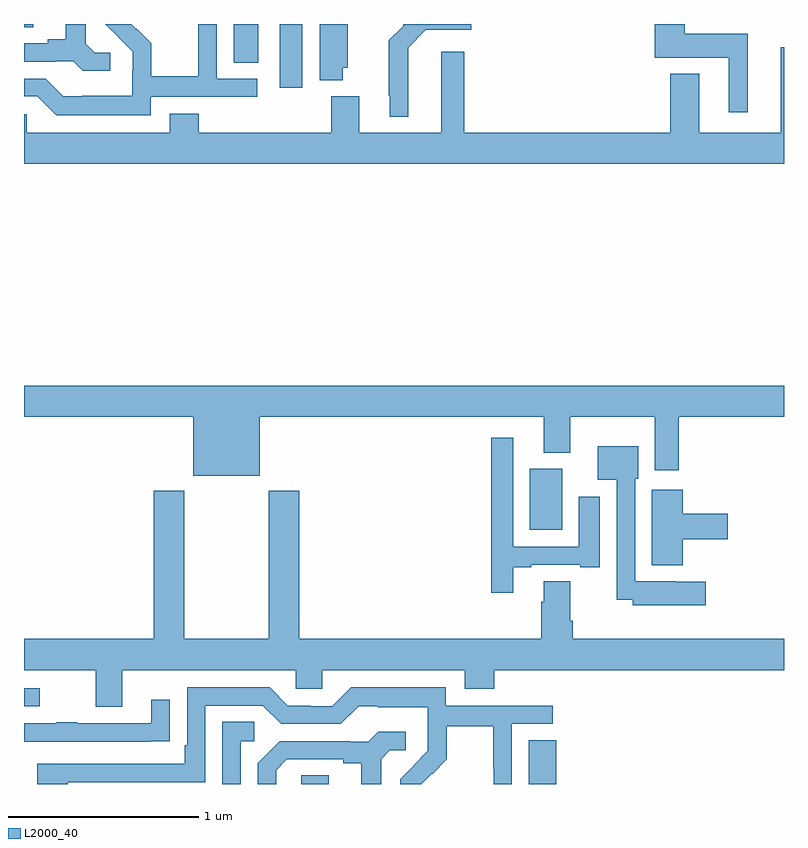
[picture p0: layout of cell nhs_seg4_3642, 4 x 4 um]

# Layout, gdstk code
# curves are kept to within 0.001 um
import gdstk
lib = gdstk.Library(unit=1e-6, precision=1e-09)
def R(c, l, rs):  # rectangles x0, y0, x1, y1
    for r in rs: c.add(gdstk.rectangle(r[:2], r[2:], *l))
def P(c, l, *ps):  # polygons
    for p in ps: c.add(gdstk.Polygon(p, *l))
L2000_40 = (2000, 40)

nhs_seg4_3642 = lib.new_cell('nhs_seg4_3642')
R(nhs_seg4_3642, L2000_40, [(304.458,782.9,304.603,782.945), (305.657,782.9,305.801,783.131), (303,783.309,303.082,783.405), (305.663,784.238,305.833,784.558), (304.346,786.564,304.465,786.9), (304.103,786.697,304.234,786.9), (303,786.883,303.049,786.9)])
P(nhs_seg4_3642, L2000_40, [(305.023,786.776),(305.115,786.869),(305.353,786.869),(305.353,786.9),(304.995,786.9),(304.995,786.888),(304.921,786.814),(304.921,786.523),(304.925,786.523),(304.925,786.413),(305.023,786.413)],
  [(303.454,786.75),(303.372,786.75),(303.325,786.797),(303.325,786.9),(303.221,786.9),(303.221,786.821),(303.125,786.821),(303.125,786.798),(303,786.798),(303,786.702),(303.164,786.702),(303.164,786.705),(303.258,786.705),(303.31,786.653),(303.454,786.653)],
  [(304.678,786.669),(304.705,786.669),(304.705,786.9),(304.556,786.9),(304.556,786.605),(304.678,786.605)],
  [(303.666,786.516),(304.228,786.516),(304.228,786.612),(304.014,786.612),(304.014,786.9),(303.918,786.9),(303.918,786.848),(303.916,786.848),(303.916,786.625),(303.671,786.625),(303.671,786.799),(303.594,786.876),(303.591,786.873),(303.564,786.9),(303.428,786.9),(303.572,786.754),(303.572,786.657),(303.57,786.657),(303.57,786.523),(303.307,786.523),(303.307,786.519),(303.207,786.519),(303.114,786.612),(303,786.612),(303,786.519),(303.069,786.519),(303.169,786.419),(303.666,786.419)],
  [(306.808,786.85),(306.478,786.85),(306.478,786.9),(306.32,786.9),(306.32,786.722),(306.71,786.722),(306.71,786.435),(306.808,786.435)],
  [(307,786.778),(306.983,786.778),(306.983,786.328),(306.553,786.328),(306.553,786.637),(306.401,786.637),(306.401,786.328),(305.318,786.328),(305.318,786.754),(305.195,786.754),(305.195,786.328),(304.765,786.328),(304.765,786.52),(304.618,786.52),(304.618,786.328),(303.92,786.328),(303.92,786.427),(303.767,786.427),(303.767,786.328),(303.015,786.328),(303.015,786.426),(303,786.426),(303,786.164),(307,786.164)],
  [(304.24,784.832),(305.735,784.832),(305.735,784.643),(305.875,784.643),(305.875,784.832),(306.32,784.832),(306.32,784.551),(306.446,784.551),(306.446,784.832),(307,784.832),(307,784.996),(303,784.996),(303,784.832),(303.89,784.832),(303.89,784.523),(304.24,784.523)],
  [(305.575,784.041),(305.671,784.041),(305.671,784.053),(305.927,784.053),(305.927,784.041),(306.031,784.041),(306.031,784.411),(305.921,784.411),(305.921,784.149),(305.574,784.149),(305.574,784.723),(305.458,784.723),(305.458,783.906),(305.575,783.906)],
  [(306.589,783.964),(306.432,783.964),(306.432,783.966),(306.216,783.966),(306.216,784.506),(306.232,784.506),(306.232,784.678),(306.02,784.678),(306.02,784.502),(306.12,784.502),(306.12,783.869),(306.204,783.869),(306.204,783.842),(306.589,783.842)],
  [(306.467,784.187),(306.703,784.187),(306.703,784.322),(306.467,784.322),(306.467,784.45),(306.305,784.45),(306.305,784.052),(306.467,784.052)],
  [(303.517,783.5),(304.431,783.5),(304.431,783.402),(304.569,783.402),(304.569,783.5),(305.321,783.5),(305.321,783.401),(305.474,783.401),(305.474,783.5),(307,783.5),(307,783.664),(305.888,783.664),(305.888,783.76),(305.875,783.76),(305.875,783.968),(305.735,783.968),(305.735,783.86),(305.723,783.86),(305.723,783.664),(304.448,783.664),(304.448,784.444),(304.288,784.444),(304.288,783.664),(303.843,783.664),(303.843,784.444),(303.683,784.444),(303.683,783.664),(303,783.664),(303,783.5),(303.377,783.5),(303.377,783.306),(303.517,783.306)],
  [(303.23,782.91),(303.954,782.91),(303.954,783.312),(304.257,783.312),(304.353,783.216),(304.668,783.216),(304.761,783.309),(304.861,783.309),(304.861,783.305),(305.124,783.305),(305.124,783.171),(305.126,783.171),(305.126,783.074),(304.98,782.926),(304.98,782.9),(305.09,782.9),(305.145,782.955),(305.148,782.952),(305.225,783.029),(305.225,783.204),(305.47,783.204),(305.47,782.98),(305.472,782.98),(305.472,782.9),(305.568,782.9),(305.568,783.216),(305.782,783.216),(305.782,783.312),(305.22,783.312),(305.22,783.409),(304.723,783.409),(304.623,783.309),(304.508,783.309),(304.508,783.312),(304.389,783.312),(304.293,783.408),(303.858,783.408),(303.858,783.103),(303.845,783.103),(303.845,783.006),(303.069,783.006),(303.069,782.9),(303.23,782.9)],
  [(303.665,783.124),(303.767,783.124),(303.767,783.343),(303.671,783.343),(303.671,783.219),(303.281,783.219),(303.281,783.224),(303.169,783.224),(303.169,783.219),(303,783.219),(303,783.123),(303.665,783.123)],
  [(304.14,783.126),(304.213,783.126),(304.213,783.227),(304.044,783.227),(304.044,782.9),(304.14,782.9)],
  [(304.327,782.973),(304.384,783.03),(304.679,783.03),(304.679,783.008),(304.775,783.008),(304.775,782.9),(304.879,782.9),(304.879,783.031),(304.926,783.078),(305.008,783.078),(305.008,783.175),(304.864,783.175),(304.812,783.123),(304.718,783.123),(304.718,783.126),(304.346,783.126),(304.23,783.01),(304.23,782.9),(304.327,782.9)])

lib.write_gds('nhs_seg4_3642.gds')
